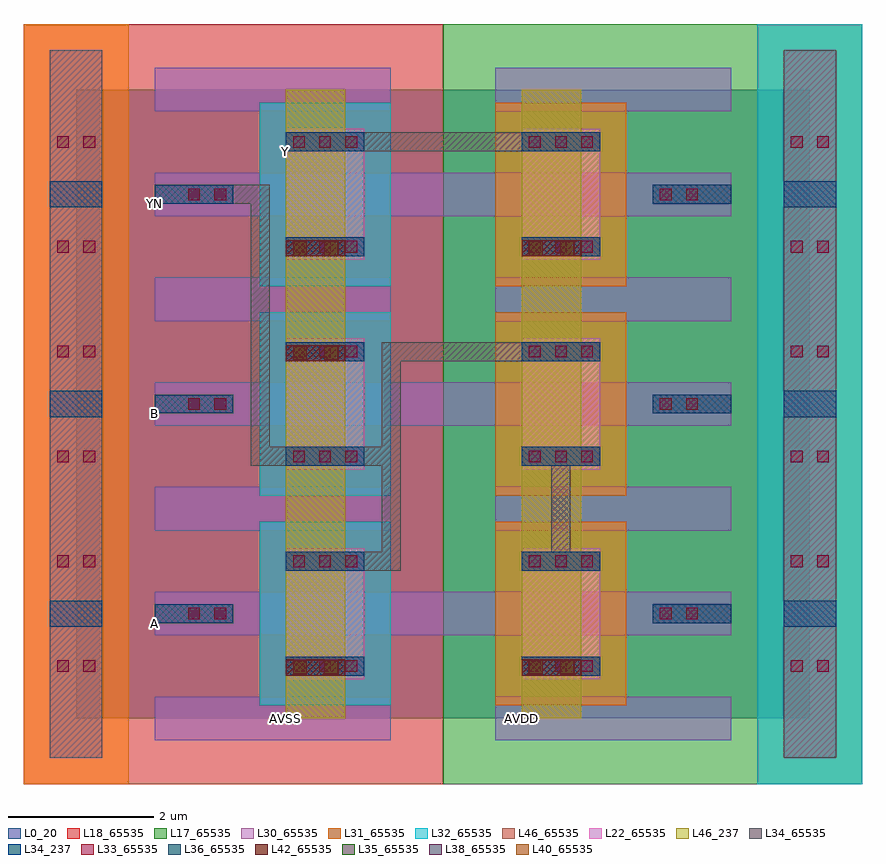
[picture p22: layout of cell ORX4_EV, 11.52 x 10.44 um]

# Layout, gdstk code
import gdstk
lib = gdstk.Library(unit=1e-6, precision=1e-09)
def R(c, l, rs):  # rectangles x0, y0, x1, y1
    for r in rs: c.add(gdstk.rectangle(r[:2], r[2:], *l))
def A(c, l, x, y, w, h, nx, ny, dx, dy):  # array of equal rectangles
    R(c, l, [(x+i*dx, y+j*dy, x+i*dx+w, y+j*dy+h) for i in range(nx) for j in range(ny)])
L0_20 = (0, 20)
L17_65535 = (17, 65535)
L18_65535 = (18, 65535)
L22_65535 = (22, 65535)
L30_65535 = (30, 65535)
L31_65535 = (31, 65535)
L32_65535 = (32, 65535)
L33_65535 = (33, 65535)
L34_237 = (34, 237)
L34_65535 = (34, 65535)
L35_65535 = (35, 65535)
L36_65535 = (36, 65535)
L38_65535 = (38, 65535)
L40_65535 = (40, 65535)
L42_65535 = (42, 65535)
L46_237 = (46, 237)
L46_65535 = (46, 65535)

nchio = lib.new_cell('NCHIO')
R(nchio, L0_20, [(0,0,5.04,2.88)])
R(nchio, L18_65535, [(-0.72,-0.9,5.04,3.78)])
A(nchio, L22_65535, -0.36, -0.54, 0.72, 0.36, 1, 11, 0, 0.36)
A(nchio, L22_65535, 2.88, 0.54, 1.08, 0.36, 1, 5, 0, 0.36)
A(nchio, L30_65535, 1.08, -0.3, 3.24, 0.6, 1, 3, 0, 1.44)
R(nchio, L31_65535, [(-0.72,-0.9,0.72,3.78)])
R(nchio, L32_65535, [(2.52,0.18,4.32,2.7)])
A(nchio, L33_65535, 2.98, 0.64, 0.16, 0.16, 3, 2, 0.36, 1.44)
R(nchio, L33_65535, [(-0.26,0.64,-0.1,0.8), (0.1,0.64,0.26,0.8), (1.54,1.36,1.7,1.52), (1.9,1.36,2.06,1.52), (-0.26,2.08,-0.1,2.24), (0.1,2.08,0.26,2.24)])
R(nchio, L34_237, [(2.88,0.59,3.96,0.85), (-0.36,1.26,0.36,1.62), (1.08,1.31,2.16,1.57), (2.88,2.03,3.96,2.29)])
A(nchio, L34_65535, -0.36, -0.54, 0.72, 0.36, 1, 11, 0, 0.36)
R(nchio, L34_65535, [(2.88,0.59,3.96,0.85), (1.08,1.31,2.16,1.57), (2.88,2.03,3.96,2.29)])
nchio.add(gdstk.Label('G', (1.08,1.31), layer=34, texttype=237))
nchio.add(gdstk.Label('S', (2.88,0.59), layer=34, texttype=237))
nchio.add(gdstk.Label('B', (-0.36,1.26), layer=34, texttype=237))
nchio.add(gdstk.Label('D', (2.88,2.03), layer=34, texttype=237))

pchio = lib.new_cell('PCHIO')
R(pchio, L0_20, [(0,0,5.04,2.88)])
R(pchio, L17_65535, [(0,-0.9,5.76,3.78)])
A(pchio, L22_65535, 4.68, -0.54, 0.72, 0.36, 1, 11, 0, 0.36)
A(pchio, L22_65535, 1.08, 0.54, 1.08, 0.36, 1, 5, 0, 0.36)
A(pchio, L30_65535, 0.72, -0.3, 3.24, 0.6, 1, 3, 0, 1.44)
R(pchio, L31_65535, [(0.72,0.18,2.52,2.7)])
R(pchio, L32_65535, [(4.32,-0.9,5.76,3.78)])
A(pchio, L33_65535, 1.18, 0.64, 0.16, 0.16, 3, 2, 0.36, 1.44)
R(pchio, L33_65535, [(4.78,0.64,4.94,0.8), (5.14,0.64,5.3,0.8), (2.98,1.36,3.14,1.52), (3.34,1.36,3.5,1.52), (4.78,2.08,4.94,2.24), (5.14,2.08,5.3,2.24)])
R(pchio, L34_237, [(1.08,0.59,2.16,0.85), (4.68,1.26,5.4,1.62), (2.88,1.31,3.96,1.57), (1.08,2.03,2.16,2.29)])
A(pchio, L34_65535, 4.68, -0.54, 0.72, 0.36, 1, 11, 0, 0.36)
R(pchio, L34_65535, [(1.08,0.59,2.16,0.85), (2.88,1.31,3.96,1.57), (1.08,2.03,2.16,2.29)])
pchio.add(gdstk.Label('G', (2.88,1.31), layer=34, texttype=237))
pchio.add(gdstk.Label('S', (1.08,0.59), layer=34, texttype=237))
pchio.add(gdstk.Label('B', (4.68,1.26), layer=34, texttype=237))
pchio.add(gdstk.Label('D', (1.08,2.03), layer=34, texttype=237))

cut_m1m4_2x1 = lib.new_cell('cut_M1M4_2x1')
R(cut_m1m4_2x1, L0_20, [(0,0,0.82,0.22)])
R(cut_m1m4_2x1, L34_65535, [(0,0,0.82,0.22)])
R(cut_m1m4_2x1, L35_65535, [(0.1,0.015,0.29,0.205), (0.53,0.015,0.72,0.205)])
R(cut_m1m4_2x1, L36_65535, [(0,0,0.82,0.22)])
R(cut_m1m4_2x1, L38_65535, [(0.1,0.015,0.29,0.205), (0.53,0.015,0.72,0.205)])
R(cut_m1m4_2x1, L40_65535, [(0.1,0.015,0.29,0.205), (0.53,0.015,0.72,0.205)])
R(cut_m1m4_2x1, L42_65535, [(0,0,0.82,0.22)])
R(cut_m1m4_2x1, L46_65535, [(0,0,0.82,0.22)])

nrx1_ev = lib.new_cell('NRX1_EV')
R(nrx1_ev, L0_20, [(0,0,10.08,5.76)])
R(nrx1_ev, L30_65535, [(1.08,1.14,9,1.74), (1.08,4.02,9,4.62)])
R(nrx1_ev, L34_237, [(1.08,1.31,2.16,1.57), (2.88,3.47,3.96,3.73), (1.08,4.19,2.16,4.45)])
R(nrx1_ev, L34_65535, [(3.42,2.03,4.2,2.29), (4.2,2.03,4.46,5.17), (6.53,2.03,6.79,3.73), (3.42,3.47,4.2,3.73), (4.2,4.91,6.66,5.17)])
R(nrx1_ev, L46_237, [(2.88,0,3.7,5.76), (6.12,0,6.94,5.76)])
R(nrx1_ev, L46_65535, [(2.88,0,3.7,5.76), (6.12,0,6.94,5.76)])
nrx1_ev.add(gdstk.Reference(nchio, (0,0)))
nrx1_ev.add(gdstk.Reference(nchio, (0,2.88)))
nrx1_ev.add(gdstk.Reference(pchio, (5.04,0)))
nrx1_ev.add(gdstk.Reference(pchio, (5.04,2.88)))
nrx1_ev.add(gdstk.Reference(cut_m1m4_2x1, (6.12,0.59)))
nrx1_ev.add(gdstk.Reference(cut_m1m4_2x1, (2.88,0.59)))
nrx1_ev.add(gdstk.Reference(cut_m1m4_2x1, (2.88,4.91)))
nrx1_ev.add(gdstk.Label('Y', (2.88,2.03), layer=58, texttype=65535))
nrx1_ev.add(gdstk.Label('N1', (6.12,2.03), layer=58, texttype=65535))
nrx1_ev.add(gdstk.Label('A', (1.08,1.14), layer=58, texttype=65535))
nrx1_ev.add(gdstk.Label('B', (1.08,4.02), layer=58, texttype=65535))
nrx1_ev.add(gdstk.Label('A', (1.08,1.31), layer=34, texttype=237))
nrx1_ev.add(gdstk.Label('B', (1.08,4.19), layer=34, texttype=237))
nrx1_ev.add(gdstk.Label('Y', (2.88,3.47), layer=34, texttype=237))
nrx1_ev.add(gdstk.Label('AVDD', (6.12,0), layer=46, texttype=237))
nrx1_ev.add(gdstk.Label('AVSS', (2.88,0), layer=46, texttype=237))

ivx1_ev = lib.new_cell('IVX1_EV')
R(ivx1_ev, L0_20, [(0,0,10.08,2.88)])
R(ivx1_ev, L30_65535, [(1.08,1.14,9,1.74)])
R(ivx1_ev, L34_237, [(1.08,1.31,2.16,1.57), (2.88,2.03,3.96,2.29)])
R(ivx1_ev, L34_65535, [(3.42,2.03,4.2,2.29), (4.2,2.03,6.66,2.29), (4.2,2.03,4.46,2.29)])
R(ivx1_ev, L46_237, [(2.88,0,3.7,2.88), (6.12,0,6.94,2.88)])
R(ivx1_ev, L46_65535, [(2.88,0,3.7,2.88), (6.12,0,6.94,2.88)])
ivx1_ev.add(gdstk.Reference(nchio, (0,0)))
ivx1_ev.add(gdstk.Reference(pchio, (5.04,0)))
ivx1_ev.add(gdstk.Reference(cut_m1m4_2x1, (6.12,0.59)))
ivx1_ev.add(gdstk.Reference(cut_m1m4_2x1, (2.88,0.59)))
ivx1_ev.add(gdstk.Label('Y', (2.88,2.03), layer=58, texttype=65535))
ivx1_ev.add(gdstk.Label('A', (1.08,1.31), layer=58, texttype=65535))
ivx1_ev.add(gdstk.Label('A', (7.92,1.31), layer=58, texttype=65535))
ivx1_ev.add(gdstk.Label('A', (1.08,1.14), layer=58, texttype=65535))
ivx1_ev.add(gdstk.Label('A', (1.08,1.31), layer=34, texttype=237))
ivx1_ev.add(gdstk.Label('Y', (2.88,2.03), layer=34, texttype=237))
ivx1_ev.add(gdstk.Label('AVDD', (6.12,0), layer=46, texttype=237))
ivx1_ev.add(gdstk.Label('AVSS', (2.88,0), layer=46, texttype=237))

orx4_ev = lib.new_cell('ORX4_EV')
R(orx4_ev, L0_20, [(0,0,10.08,8.64)])
R(orx4_ev, L34_237, [(1.08,1.31,2.16,1.57), (1.08,4.19,2.16,4.45), (2.88,7.79,3.96,8.05)])
R(orx4_ev, L34_65535, [(2.4,3.47,3.42,3.73), (2.4,3.47,2.66,7.33), (1.62,7.07,2.4,7.33)])
R(orx4_ev, L46_237, [(2.88,0,3.7,8.64), (6.12,0,6.94,8.64)])
R(orx4_ev, L46_65535, [(2.88,0,3.7,8.64), (6.12,0,6.94,8.64)])
orx4_ev.add(gdstk.Reference(nrx1_ev, (0,0)))
orx4_ev.add(gdstk.Reference(ivx1_ev, (0,5.76)))
orx4_ev.add(gdstk.Label('YN', (1.08,7.07), layer=58, texttype=65535))
orx4_ev.add(gdstk.Label('A', (1.08,1.31), layer=34, texttype=237))
orx4_ev.add(gdstk.Label('B', (1.08,4.19), layer=34, texttype=237))
orx4_ev.add(gdstk.Label('Y', (2.88,7.79), layer=34, texttype=237))
orx4_ev.add(gdstk.Label('AVDD', (6.12,0), layer=46, texttype=237))
orx4_ev.add(gdstk.Label('AVSS', (2.88,0), layer=46, texttype=237))

lib.write_gds('ORX4_EV.gds')
